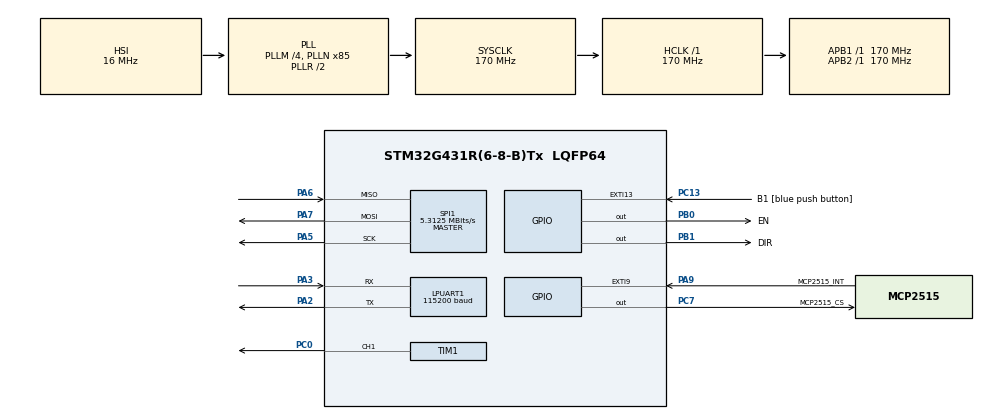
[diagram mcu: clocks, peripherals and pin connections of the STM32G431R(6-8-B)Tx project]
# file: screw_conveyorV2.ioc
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LPUART1.BaudRate=115200
Mcu.Family=STM32G4
Mcu.Name=STM32G431R(6-8-B)Tx
Mcu.Package=LQFP64
NVIC.PriorityGroup=NVIC_PRIORITYGROUP_4
PA13.GPIO_Label=T_SWDIO
PA13.Mode=Trace_Asynchronous_SW
PA13.Signal=SYS_JTMS-SWDIO
PA14.GPIO_Label=T_SWCLK
PA14.Mode=Trace_Asynchronous_SW
PA14.Signal=SYS_JTCK-SWCLK
PA2.Mode=Asynchronous
PA2.Signal=LPUART1_TX
PA3.Mode=Asynchronous
PA3.Signal=LPUART1_RX
PA5.Mode=Full_Duplex_Master
PA5.Signal=SPI1_SCK
PA6.Mode=Full_Duplex_Master
PA6.Signal=SPI1_MISO
PA7.Mode=Full_Duplex_Master
PA7.Signal=SPI1_MOSI
PA9.GPIO_Label=MCP2515_INT
PA9.GPIO_ModeDefaultEXTI=GPIO_MODE_IT_FALLING
PA9.GPIO_PuPd=GPIO_PULLUP
PA9.Signal=GPXTI9
PB0.GPIO_Label=EN
PB0.Signal=GPIO_Output
PB1.GPIO_Label=DIR
PB1.Signal=GPIO_Output
PB3.GPIO_Label=T_SWO
PB3.Mode=Trace_Asynchronous_SW
PB3.Signal=SYS_JTDO-SWO
PC0.Signal=S_TIM1_CH1
PC13.GPIO_Label=B1 [blue push button]
PC13.Signal=GPXTI13
PC7.GPIO_Label=MCP2515_CS
PC7.PinState=GPIO_PIN_SET
PC7.Signal=GPIO_Output
PF0-OSC_IN.GPIO_Label=RCC_OSC_IN
PF0-OSC_IN.Mode=HSE-External-Oscillator
PF0-OSC_IN.Signal=RCC_OSC_IN
PF1-OSC_OUT.GPIO_Label=RCC_OSC_OUT
PF1-OSC_OUT.Mode=HSE-External-Oscillator
PF1-OSC_OUT.Signal=RCC_OSC_OUT
ProjectManager.HeapSize=0x200
ProjectManager.StackSize=0x400
ProjectManager.TargetToolchain=STM32CubeIDE
RCC.ADC12Freq_Value=170000000
RCC.AHBFreq_Value=170000000
RCC.APB1Freq_Value=170000000
RCC.APB1TimFreq_Value=170000000
RCC.APB2Freq_Value=170000000
RCC.APB2TimFreq_Value=170000000
RCC.CortexFreq_Value=170000000
RCC.EXTERNAL_CLOCK_VALUE=12288000
RCC.HCLKFreq_Value=170000000
RCC.HSE_VALUE=24000000
RCC.HSI48_VALUE=48000000
RCC.HSI_VALUE=16000000
RCC.LSE_VALUE=32768
RCC.PLLM=RCC_PLLM_DIV4
RCC.PLLN=85
RCC.RTCClockSelection=RCC_RTCCLKSOURCE_LSE
RCC.SYSCLKFreq_VALUE=170000000
RCC.SYSCLKSource=RCC_SYSCLKSOURCE_PLLCLK
RCC.USBFreq_Value=170000000
RCC.VCOOutputFreq_Value=340000000
SH.S_TIM1_CH1.0=TIM1_CH1,PWM Generation1 CH1
SPI1.BaudRatePrescaler=SPI_BAUDRATEPRESCALER_32
SPI1.CalculateBaudRate=5.3125 MBits/s
SPI1.DataSize=SPI_DATASIZE_8BIT
SPI1.Direction=SPI_DIRECTION_2LINES
SPI1.Mode=SPI_MODE_MASTER
SPI1.VirtualType=VM_MASTER
TIM1.Channel-PWM\ Generation1\ CH1=TIM_CHANNEL_1
TIM1.PeriodNoDither=999
TIM1.Prescaler=169
VP_SYS_VS_DBSignals.Mode=DisableDeadBatterySignals
VP_TIM1_VS_ClockSourceINT.Mode=Internal
board=NUCLEO-G431RB

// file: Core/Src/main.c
/* USER CODE BEGIN Header */
/**
  ******************************************************************************
  * @file           : main.c
  * @brief          : Main program body
  ******************************************************************************
  * @attention
  *
  * Copyright (c) 2026 STMicroelectronics.
  * All rights reserved.
  *
  * This software is licensed under terms that can be found in the LICENSE file
  * in the root directory of this software component.
  * If no LICENSE file comes with this software, it is provided AS-IS.
  *
  ******************************************************************************
  */
/* USER CODE END Header */
#include "main.h"

/* USER CODE BEGIN Includes */
#include "mcp2515.h"
#include <stdio.h>
/* USER CODE END Includes */

/* USER CODE BEGIN PD */

/* ==========================================================================
 * CAN COMMAND SCHEME - SCREW CONVEYER (this board)
 *
 * ID 0x080, DLC 1 unless noted:
 *   0x01  START
 *   0x02  STOP
 *   0x03  FORWARD   (deferred until motor reaches 0 speed if currently moving)
 *   0x04  REVERSE   (deferred until motor reaches 0 speed if currently moving)
 *   0x05  SET_SPEED (DLC 3: [0x05, speed_hi, speed_lo], 16-bit, 0-999)
 *
 * (LED_ON/LED_OFF commands removed - this board no longer has LD2
 * configured, PA5 is now SPI1_SCK instead)
 *
 * ID 0x010 - global safety ID shared across every node on the bus:
 *   0x01  EMERGENCY_STOP  - immediate, unconditional power cut (bypasses
 *                           the ramp/direction-safety logic entirely -
 *                           genuine emergencies need instant response)
 *   0x03  CLEAR EMERGENCY - re-arms the board, but does NOT auto-restart
 *                           the motor - an explicit START must follow
 * ==========================================================================*/
#define CAN_ID_SCREW_CONVEYER   0x080
#define CAN_ID_SAFETY           0x010

#define CMD_START       0x01
#define CMD_STOP        0x02
#define CMD_FORWARD     0x03
#define CMD_REVERSE     0x04
#define CMD_SET_SPEED   0x05

#define SAFETY_EMERGENCY_STOP    0x01
#define SAFETY_CLEAR_EMERGENCY   0x03

#define MOTOR_SPEED_MAX   999

/* USER CODE END PD */

UART_HandleTypeDef hlpuart1;

SPI_HandleTypeDef hspi1;

TIM_HandleTypeDef htim1;

/* USER CODE BEGIN PV */

/* printf() retarget - redirects standard output to LPUART1 (tied to the
 * ST-LINK Virtual COM Port on this specific board - USART1 on PA2/PA3
 * turned out not to be available, this Nucleo variant uses LPUART1 for
 * the VCP instead), one character at a time. */
int _write(int file, char *ptr, int len)
{
    HAL_UART_Transmit(&hlpuart1, (uint8_t *)ptr, len, HAL_MAX_DELAY);
    return len;
}

CAN_Frame rxFrame;

/* Motor ramp/direction state - all non-blocking, advanced from the main
 * loop rather than inside a blocking while() loop, so incoming CAN frames
 * (especially EMERGENCY_STOP) are never left unprocessed while a ramp is
 * in progress. */
static volatile uint16_t motor_current_speed = 0;
static volatile uint16_t motor_target_speed  = 0;
static volatile uint8_t  motor_enabled       = 0;   /* mirrors EN pin state */

typedef enum { DIR_FORWARD, DIR_REVERSE } MotorDirection;
static volatile MotorDirection motor_direction         = DIR_FORWARD;
static volatile uint8_t        direction_change_pending = 0;
static volatile MotorDirection pending_direction;

/* Latched by EMERGENCY_STOP, only cleared by CLEAR EMERGENCY - matches the
 * same latch pattern used on the H7 (heartbeat_fault/estop_fault_led). */
static volatile uint8_t estop_active = 0;
/* USER CODE END PV */

void SystemClock_Config(void);
static void MX_GPIO_Init(void);
static void MX_TIM1_Init(void);
static void MX_LPUART1_UART_Init(void);
static void MX_SPI1_Init(void);

/* USER CODE BEGIN 0 */

/* ==========================================================================
 * LOW-LEVEL MOTOR CONTROL
 * ==========================================================================*/
void Motor_Start(void)
{
    HAL_GPIO_WritePin(EN_GPIO_Port, EN_Pin, GPIO_PIN_RESET);
}

void Motor_Stop(void)
{
    HAL_GPIO_WritePin(EN_GPIO_Port, EN_Pin, GPIO_PIN_SET);
}

void Motor_Forward(void)
{
    HAL_GPIO_WritePin(DIR_GPIO_Port, DIR_Pin, GPIO_PIN_SET);
}

void Motor_Reverse(void)
{
    HAL_GPIO_WritePin(DIR_GPIO_Port, DIR_Pin, GPIO_PIN_RESET);
}

/* Immediately snaps the PWM compare register and internal ramp state to a
 * given speed - no ramping, used for EMERGENCY_STOP and STOP where an
 * instant cut is exactly what's wanted, not a graceful ramp-down. */
static void Motor_SnapSpeed(uint16_t speed)
{
    if (speed > MOTOR_SPEED_MAX) speed = MOTOR_SPEED_MAX;
    motor_current_speed = speed;
    motor_target_speed  = speed;
    __HAL_TIM_SET_COMPARE(&htim1, TIM_CHANNEL_1, speed);
}

/* ==========================================================================
 * NON-BLOCKING SPEED RAMP
 *
 * Replaces the original Motor_SetSpeed()'s blocking while()+HAL_Delay(10)
 * loop. Call this once per main loop iteration instead - it advances
 * current_speed one step toward target_speed at the same ~10ms-per-step
 * pace as the original, but without ever blocking, so CAN reception
 * (especially EMERGENCY_STOP) stays responsive throughout a ramp.
 *
 * Also handles the deferred direction-change safety: if a FORWARD/REVERSE
 * command arrived while the motor was moving, target_speed was already
 * set to 0 at that point (see CAN dispatch below) - once this ramp
 * actually reaches 0, the pending direction gets applied here. The motor
 * stays at 0 afterward; a fresh SET_SPEED is required to resume, rather
 * than assuming it should return to whatever speed it was at before the
 * direction change (safer default - no surprise resumption).
 * ==========================================================================*/
static void Motor_RampTick(void)
{
    static uint32_t last_step_tick = 0;

    if (HAL_GetTick() - last_step_tick < 10)
    {
        return;   /* not time for the next 1-unit step yet */
    }
    last_step_tick = HAL_GetTick();

    if (motor_current_speed == motor_target_speed)
    {
        /* Ramp settled - if a direction change was waiting for exactly
         * this (speed reached 0), apply it now. */
        if (direction_change_pending && motor_current_speed == 0)
        {
            if (pending_direction == DIR_FORWARD)
            {
                Motor_Forward();
            }
            else
            {
                Motor_Reverse();
            }
            motor_direction = pending_direction;
            direction_change_pending = 0;
        }
        return;
    }

    if (motor_current_speed < motor_target_speed)
    {
        motor_current_speed++;
    }
    else
    {
        motor_current_speed--;
    }

    __HAL_TIM_SET_COMPARE(&htim1, TIM_CHANNEL_1, motor_current_speed);
}

/* Requests a direction change. If the motor is already stopped (speed 0),
 * applies it immediately. Otherwise defers it - sets target_speed to 0 so
 * Motor_RampTick() ramps down first, then applies the direction once
 * speed genuinely reaches 0. This is the fix for the mechanical safety
 * concern flagged in an earlier draft of this firmware: switching
 * direction while still moving can damage the drivetrain. */
static void Motor_RequestDirection(MotorDirection dir)
{
    if (motor_current_speed == 0)
    {
        if (dir == DIR_FORWARD) Motor_Forward(); else Motor_Reverse();
        motor_direction = dir;
        direction_change_pending = 0;
    }
    else
    {
        pending_direction = dir;
        direction_change_pending = 1;
        motor_target_speed = 0;   /* Motor_RampTick() will ramp down, then apply */
    }
}

/* ==========================================================================
 * CAN COMMAND DISPATCH
 * ==========================================================================*/
static void handle_safety_frame(CAN_Frame *frame)
{
    if (frame->dlc < 1) return;

    if (frame->data[0] == SAFETY_EMERGENCY_STOP)
    {
        printf("SAFETY: EMERGENCY_STOP - cutting motor power immediately\r\n");
        estop_active = 1;
        motor_enabled = 0;
        Motor_Stop();
        Motor_SnapSpeed(0);              /* instant cut, no ramp */
        direction_change_pending = 0;    /* any pending direction change is moot now */
    }
    else if (frame->data[0] == SAFETY_CLEAR_EMERGENCY)
    {
        printf("SAFETY: CLEAR EMERGENCY - re-armed, motor stays off until START\r\n");
        estop_active = 0;
        /* Deliberately does NOT restart the motor - motor_enabled stays 0
         * until an explicit START command arrives. Auto-resuming a motor
         * right after an emergency clears would be a genuinely dangerous
         * default. */
    }
}

static void handle_screw_conveyer_frame(CAN_Frame *frame)
{
    if (frame->dlc < 1) return;

    /* Defense in depth: even though the GUI shouldn't be sending motor
     * commands while E-STOP is latched, this board doesn't blindly trust
     * that - any command other than what's already handled above is
     * ignored outright while estop_active is set. */
    if (estop_active)
    {
        printf("SCREW CONVEYER: command 0x%02X ignored - E-STOP active\r\n", frame->data[0]);
        return;
    }

    switch (frame->data[0])
    {
        case CMD_START:
            printf("SCREW CONVEYER: START\r\n");
            motor_enabled = 1;
            Motor_Start();
            break;

        case CMD_STOP:
            printf("SCREW CONVEYER: STOP\r\n");
            motor_enabled = 0;
            Motor_Stop();
            Motor_SnapSpeed(0);
            direction_change_pending = 0;
            break;

        case CMD_FORWARD:
            printf("SCREW CONVEYER: FORWARD requested%s\r\n",
                   motor_current_speed != 0 ? " (deferred - ramping down first)" : "");
            Motor_RequestDirection(DIR_FORWARD);
            break;

        case CMD_REVERSE:
            printf("SCREW CONVEYER: REVERSE requested%s\r\n",
                   motor_current_speed != 0 ? " (deferred - ramping down first)" : "");
            Motor_RequestDirection(DIR_REVERSE);
            break;

        case CMD_SET_SPEED:
            if (frame->dlc >= 3)
            {
                uint16_t speed = ((uint16_t)frame->data[1] << 8) | frame->data[2];
                if (speed > MOTOR_SPEED_MAX) speed = MOTOR_SPEED_MAX;
                printf("SCREW CONVEYER: SET_SPEED -> %u\r\n", speed);
                motor_target_speed = speed;   /* Motor_RampTick() ramps toward this */
            }
            else
            {
                printf("SCREW CONVEYER: SET_SPEED frame malformed (DLC=%d, need >=3)\r\n", frame->dlc);
            }
            break;

        default:
            printf("SCREW CONVEYER: unrecognized command byte 0x%02X - ignored\r\n", frame->data[0]);
            break;
    }
}

/* USER CODE END 0 */

int main(void)
{

  /* MCU Configuration--------------------------------------------------------*/

  /* Reset of all peripherals, Initializes the Flash interface and the Systick. */
  HAL_Init();

  /* Configure the system clock */
  SystemClock_Config();

  /* Initialize all configured peripherals */
  MX_GPIO_Init();
  MX_TIM1_Init();
  MX_LPUART1_UART_Init();
  MX_SPI1_Init();
  /* USER CODE BEGIN 2 */
  HAL_TIM_PWM_Start(&htim1, TIM_CHANNEL_1);

  /* Motor starts stopped and disarmed - an explicit START command over
   * CAN is required before it will move at all. Direction defaults to
   * forward but has no effect until START + a nonzero SET_SPEED arrive. */
  Motor_Stop();
  motor_direction = DIR_FORWARD;
  Motor_Forward();

  printf("\r\n");
  printf("========================================\r\n");
  printf(" G4 SCREW CONVEYER - BOOT\r\n");
  printf("========================================\r\n");
  printf("SPI1 wiring expected:\r\n");
  printf("  SCK  -> PA5   (D13)\r\n");
  printf("  MISO -> PA6   (D12)\r\n");
  printf("  MOSI -> PA7   (D11)\r\n");
  printf("  CS   -> PC7   (D9)\r\n");
  printf("  INT  -> PA9   (D8, configured but unused - driver polls instead)\r\n");
  printf("SPI1 clock: 170MHz / 32 = 5.3125 MBit/s (MCP2515 max is 10MHz)\r\n");
  printf("----------------------------------------\r\n");

  printf("Initializing MCP2515...\r\n");
  HAL_StatusTypeDef mcp_init_status = MCP2515_Init(&hspi1);

  /* DIAGNOSTIC: raw register read regardless of init outcome - shows
   * exactly what's coming back over SPI, plus whether the SPI
   * transaction itself actually completed (a 0x00 could mean "the chip
   * genuinely responded with 0" OR "the SPI transaction timed out and
   * rx[] was never touched, still holding its zero-initialized value" -
   * these look identical without checking the transaction status too). */
  {
      printf("  [diag] raw CANSTAT reads (3x): ");
      for (uint8_t i = 0; i < 3; i++)
      {
          uint8_t raw = MCP2515_ReadRegister(MCP2515_CANSTAT);
          HAL_StatusTypeDef spi_status = MCP2515_GetLastSpiStatus();
          printf("0x%02X(%s) ", raw,
                 spi_status == HAL_OK      ? "OK" :
                 spi_status == HAL_TIMEOUT ? "TIMEOUT" :
                 spi_status == HAL_ERROR   ? "ERROR" : "BUSY");
      }
      printf("\r\n  [diag] (0xFF/0x00 every time = chip not responding at all;\r\n"
             "          changing/random values = noise or a clock issue;\r\n"
             "          TIMEOUT status = SPI transaction itself never completed)\r\n");
  }

  if (mcp_init_status != HAL_OK)
  {
      printf("MCP2515 init FAILED - check SPI wiring/power\r\n");
      while (1)
      {
          /* No LED on this board anymore - halt here, PuTTY output above
           * is the diagnostic signal now. */
      }
  }
  printf("MCP2515 init OK - Normal mode\r\n");

  /* DIAGNOSTIC: confirm the chip genuinely reports Normal mode after
   * init, not just that the init call returned HAL_OK. CANSTAT's top 3
   * bits are the operating mode - 0x00 = Normal. */
  {
      uint8_t canstat = MCP2515_ReadRegister(MCP2515_CANSTAT);
      printf("  [diag] CANSTAT = 0x%02X (mode bits = 0x%02X, 0x00 = Normal)\r\n",
             canstat, canstat & 0xE0);
  }

  /* MCP2515 loopback self-test - same validator used on the H7 and
   * L432KC. Puts the chip in internal Loopback mode, sends a known test
   * frame, verifies it comes back byte-for-byte, then restores Normal
   * mode regardless of outcome - same as the other boards. */
  printf("Running loopback self-test...\r\n");
  if (MCP2515_LoopbackSelfTest() == HAL_OK)
  {
      printf("LOOPBACK TEST: PASS - SPI link + MCP2515 driver working correctly\r\n");
  }
  else
  {
      printf("LOOPBACK TEST: FAIL - check wiring (SCK/MISO/MOSI/CS) and MCP2515 power\r\n");
      while (1)
      {
          /* No LED on this board anymore - halt here. */
      }
  }

  printf("----------------------------------------\r\n");
  printf("Ready - listening on CAN ID 0x%03X (screw conveyer) and 0x%03X (safety)\r\n",
         CAN_ID_SCREW_CONVEYER, CAN_ID_SAFETY);
  printf("Motor: stopped, disarmed - waiting for START command\r\n");
  printf("========================================\r\n\r\n");
  /* USER CODE END 2 */

  /* Infinite loop */
  while (1)
  {

    /* USER CODE BEGIN 3 */
    if (MCP2515_CheckReceive())
    {
        MCP2515_ReadMessage(&rxFrame);

        printf("CAN RX: ID=0x%03lX DLC=%d Data:", rxFrame.id, rxFrame.dlc);
        for (uint8_t i = 0; i < rxFrame.dlc; i++)
        {
            printf(" %02X", rxFrame.data[i]);
        }
        printf("\r\n");

        if (rxFrame.id == CAN_ID_SAFETY)
        {
            handle_safety_frame(&rxFrame);
        }
        else if (rxFrame.id == CAN_ID_SCREW_CONVEYER)
        {
            handle_screw_conveyer_frame(&rxFrame);
        }
    }

    Motor_RampTick();
  }
  /* USER CODE END 3 */
}

void SystemClock_Config(void)
{
  RCC_OscInitTypeDef RCC_OscInitStruct = {0};
  RCC_ClkInitTypeDef RCC_ClkInitStruct = {0};

  /** Configure the main internal regulator output voltage
  */
  HAL_PWREx_ControlVoltageScaling(PWR_REGULATOR_VOLTAGE_SCALE1_BOOST);

  /** Initializes the RCC Oscillators according to the specified parameters
  * in the RCC_OscInitTypeDef structure.
  */
  RCC_OscInitStruct.OscillatorType = RCC_OSCILLATORTYPE_HSI;
  RCC_OscInitStruct.HSIState = RCC_HSI_ON;
  RCC_OscInitStruct.HSICalibrationValue = RCC_HSICALIBRATION_DEFAULT;
  RCC_OscInitStruct.PLL.PLLState = RCC_PLL_ON;
  RCC_OscInitStruct.PLL.PLLSource = RCC_PLLSOURCE_HSI;
  RCC_OscInitStruct.PLL.PLLM = RCC_PLLM_DIV4;
  RCC_OscInitStruct.PLL.PLLN = 85;
  RCC_OscInitStruct.PLL.PLLP = RCC_PLLP_DIV2;
  RCC_OscInitStruct.PLL.PLLQ = RCC_PLLQ_DIV2;
  RCC_OscInitStruct.PLL.PLLR = RCC_PLLR_DIV2;
  if (HAL_RCC_OscConfig(&RCC_OscInitStruct) != HAL_OK)
  {
    Error_Handler();
  }

  /** Initializes the CPU, AHB and APB buses clocks
  */
  RCC_ClkInitStruct.ClockType = RCC_CLOCKTYPE_HCLK|RCC_CLOCKTYPE_SYSCLK
                              |RCC_CLOCKTYPE_PCLK1|RCC_CLOCKTYPE_PCLK2;
  RCC_ClkInitStruct.SYSCLKSource = RCC_SYSCLKSOURCE_PLLCLK;
  RCC_ClkInitStruct.AHBCLKDivider = RCC_SYSCLK_DIV1;
  RCC_ClkInitStruct.APB1CLKDivider = RCC_HCLK_DIV1;
  RCC_ClkInitStruct.APB2CLKDivider = RCC_HCLK_DIV1;

  if (HAL_RCC_ClockConfig(&RCC_ClkInitStruct, FLASH_LATENCY_4) != HAL_OK)
  {
    Error_Handler();
  }
}

static void MX_LPUART1_UART_Init(void)
{

  hlpuart1.Instance = LPUART1;
  hlpuart1.Init.BaudRate = 115200;
  hlpuart1.Init.WordLength = UART_WORDLENGTH_8B;
  hlpuart1.Init.StopBits = UART_STOPBITS_1;
  hlpuart1.Init.Parity = UART_PARITY_NONE;
  hlpuart1.Init.Mode = UART_MODE_TX_RX;
  hlpuart1.Init.HwFlowCtl = UART_HWCONTROL_NONE;
  hlpuart1.Init.OneBitSampling = UART_ONE_BIT_SAMPLE_DISABLE;
  hlpuart1.Init.ClockPrescaler = UART_PRESCALER_DIV1;
  hlpuart1.AdvancedInit.AdvFeatureInit = UART_ADVFEATURE_NO_INIT;
  if (HAL_UART_Init(&hlpuart1) != HAL_OK)
  {
    Error_Handler();
  }
  if (HAL_UARTEx_SetTxFifoThreshold(&hlpuart1, UART_TXFIFO_THRESHOLD_1_8) != HAL_OK)
  {
    Error_Handler();
  }
  if (HAL_UARTEx_SetRxFifoThreshold(&hlpuart1, UART_RXFIFO_THRESHOLD_1_8) != HAL_OK)
  {
    Error_Handler();
  }
  if (HAL_UARTEx_DisableFifoMode(&hlpuart1) != HAL_OK)
  {
    Error_Handler();
  }

}

static void MX_SPI1_Init(void)
{

  /* SPI1 parameter configuration*/
  hspi1.Instance = SPI1;
  hspi1.Init.Mode = SPI_MODE_MASTER;
  hspi1.Init.Direction = SPI_DIRECTION_2LINES;
  hspi1.Init.DataSize = SPI_DATASIZE_8BIT;
  hspi1.Init.CLKPolarity = SPI_POLARITY_LOW;
  hspi1.Init.CLKPhase = SPI_PHASE_1EDGE;
  hspi1.Init.NSS = SPI_NSS_SOFT;
  hspi1.Init.BaudRatePrescaler = SPI_BAUDRATEPRESCALER_32;
  hspi1.Init.FirstBit = SPI_FIRSTBIT_MSB;
  hspi1.Init.TIMode = SPI_TIMODE_DISABLE;
  hspi1.Init.CRCCalculation = SPI_CRCCALCULATION_DISABLE;
  hspi1.Init.CRCPolynomial = 7;
  hspi1.Init.CRCLength = SPI_CRC_LENGTH_DATASIZE;
  hspi1.Init.NSSPMode = SPI_NSS_PULSE_ENABLE;
  if (HAL_SPI_Init(&hspi1) != HAL_OK)
  {
    Error_Handler();
  }

}

static void MX_TIM1_Init(void)
{

  TIM_ClockConfigTypeDef sClockSourceConfig = {0};
  TIM_MasterConfigTypeDef sMasterConfig = {0};
  TIM_OC_InitTypeDef sConfigOC = {0};
  TIM_BreakDeadTimeConfigTypeDef sBreakDeadTimeConfig = {0};

  htim1.Instance = TIM1;
  htim1.Init.Prescaler = 169;
  htim1.Init.CounterMode = TIM_COUNTERMODE_UP;
  htim1.Init.Period = 999;
  htim1.Init.ClockDivision = TIM_CLOCKDIVISION_DIV1;
  htim1.Init.RepetitionCounter = 0;
  htim1.Init.AutoReloadPreload = TIM_AUTORELOAD_PRELOAD_DISABLE;
  if (HAL_TIM_Base_Init(&htim1) != HAL_OK)
  {
    Error_Handler();
  }
  sClockSourceConfig.ClockSource = TIM_CLOCKSOURCE_INTERNAL;
  if (HAL_TIM_ConfigClockSource(&htim1, &sClockSourceConfig) != HAL_OK)
  {
    Error_Handler();
  }
  if (HAL_TIM_PWM_Init(&htim1) != HAL_OK)
  {
    Error_Handler();
  }
  sMasterConfig.MasterOutputTrigger = TIM_TRGO_RESET;
  sMasterConfig.MasterOutputTrigger2 = TIM_TRGO2_RESET;
  sMasterConfig.MasterSlaveMode = TIM_MASTERSLAVEMODE_DISABLE;
  if (HAL_TIMEx_MasterConfigSynchronization(&htim1, &sMasterConfig) != HAL_OK)
  {
    Error_Handler();
  }
  sConfigOC.OCMode = TIM_OCMODE_PWM1;
  sConfigOC.Pulse = 0;
  sConfigOC.OCPolarity = TIM_OCPOLARITY_HIGH;
  sConfigOC.OCNPolarity = TIM_OCNPOLARITY_HIGH;
  sConfigOC.OCFastMode = TIM_OCFAST_DISABLE;
  sConfigOC.OCIdleState = TIM_OCIDLESTATE_RESET;
  sConfigOC.OCNIdleState = TIM_OCNIDLESTATE_RESET;
  if (HAL_TIM_PWM_ConfigChannel(&htim1, &sConfigOC, TIM_CHANNEL_1) != HAL_OK)
  {
    Error_Handler();
  }
  sBreakDeadTimeConfig.OffStateRunMode = TIM_OSSR_DISABLE;
  sBreakDeadTimeConfig.OffStateIDLEMode = TIM_OSSI_DISABLE;
  sBreakDeadTimeConfig.LockLevel = TIM_LOCKLEVEL_OFF;
  sBreakDeadTimeConfig.DeadTime = 0;
  sBreakDeadTimeConfig.BreakState = TIM_BREAK_DISABLE;
  sBreakDeadTimeConfig.BreakPolarity = TIM_BREAKPOLARITY_HIGH;
  sBreakDeadTimeConfig.BreakFilter = 0;
  sBreakDeadTimeConfig.BreakAFMode = TIM_BREAK_AFMODE_INPUT;
  sBreakDeadTimeConfig.Break2State = TIM_BREAK2_DISABLE;
  sBreakDeadTimeConfig.Break2Polarity = TIM_BREAK2POLARITY_HIGH;
  sBreakDeadTimeConfig.Break2Filter = 0;
  sBreakDeadTimeConfig.Break2AFMode = TIM_BREAK_AFMODE_INPUT;
  sBreakDeadTimeConfig.AutomaticOutput = TIM_AUTOMATICOUTPUT_DISABLE;
  if (HAL_TIMEx_ConfigBreakDeadTime(&htim1, &sBreakDeadTimeConfig) != HAL_OK)
  {
    Error_Handler();
  }
  HAL_TIM_MspPostInit(&htim1);

}

static void MX_GPIO_Init(void)
{
  GPIO_InitTypeDef GPIO_InitStruct = {0};

  /* GPIO Ports Clock Enable */
  __HAL_RCC_GPIOC_CLK_ENABLE();
  __HAL_RCC_GPIOF_CLK_ENABLE();
  __HAL_RCC_GPIOA_CLK_ENABLE();
  __HAL_RCC_GPIOB_CLK_ENABLE();

  /*Configure GPIO pin Output Level */
  HAL_GPIO_WritePin(GPIOB, EN_Pin|DIR_Pin, GPIO_PIN_RESET);

  /*Configure GPIO pin Output Level */
  HAL_GPIO_WritePin(MCP2515_CS_GPIO_Port, MCP2515_CS_Pin, GPIO_PIN_SET);

  /*Configure GPIO pin : B1_Pin */
  GPIO_InitStruct.Pin = B1_Pin;
  GPIO_InitStruct.Mode = GPIO_MODE_IT_RISING;
  GPIO_InitStruct.Pull = GPIO_NOPULL;
  HAL_GPIO_Init(B1_GPIO_Port, &GPIO_InitStruct);

  /*Configure GPIO pins : EN_Pin DIR_Pin */
  GPIO_InitStruct.Pin = EN_Pin|DIR_Pin;
  GPIO_InitStruct.Mode = GPIO_MODE_OUTPUT_PP;
  GPIO_InitStruct.Pull = GPIO_NOPULL;
  GPIO_InitStruct.Speed = GPIO_SPEED_FREQ_LOW;
  HAL_GPIO_Init(GPIOB, &GPIO_InitStruct);

  /*Configure GPIO pin : MCP2515_CS_Pin */
  GPIO_InitStruct.Pin = MCP2515_CS_Pin;
  GPIO_InitStruct.Mode = GPIO_MODE_OUTPUT_PP;
  GPIO_InitStruct.Pull = GPIO_NOPULL;
  GPIO_InitStruct.Speed = GPIO_SPEED_FREQ_LOW;
  HAL_GPIO_Init(MCP2515_CS_GPIO_Port, &GPIO_InitStruct);

  /*Configure GPIO pin : MCP2515_INT_Pin */
  GPIO_InitStruct.Pin = MCP2515_INT_Pin;
  GPIO_InitStruct.Mode = GPIO_MODE_IT_FALLING;
  GPIO_InitStruct.Pull = GPIO_PULLUP;
  HAL_GPIO_Init(MCP2515_INT_GPIO_Port, &GPIO_InitStruct);

}

void Error_Handler(void)
{
  __disable_irq();
  while (1)
  {
  }
}
